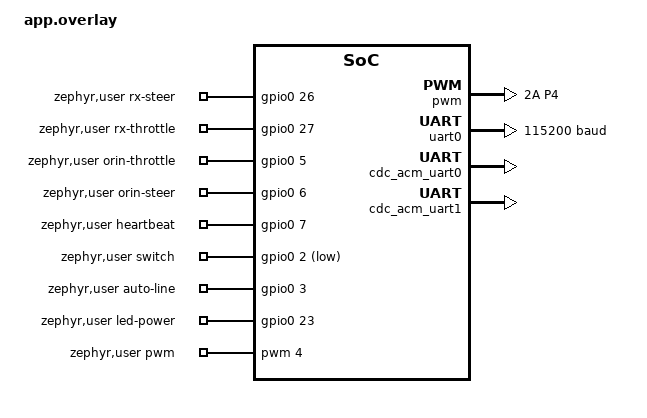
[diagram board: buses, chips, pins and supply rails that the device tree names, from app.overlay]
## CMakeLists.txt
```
# RC override arbiter on Zephyr + nano-ros.
#
# The decisions are firmware/rc-arbiter/lib, shared with the PlatformIO build
# and covered by its host tests (`just arbiter test`); nothing here copies
# them. src/ is the Zephyr hardware layer plus the nano-ros node.
cmake_minimum_required(VERSION 3.20.0)

find_package(Zephyr REQUIRED HINTS $ENV{ZEPHYR_BASE})
project(autosdv_arbiter LANGUAGES C CXX)

set(RC_ARBITER_LIB ${CMAKE_CURRENT_SOURCE_DIR}/../../rc-arbiter/lib)

target_include_directories(app PRIVATE
    ${RC_ARBITER_LIB}/arbiter
    ${RC_ARBITER_LIB}/vesc
    src)
target_sources(app PRIVATE
    ${RC_ARBITER_LIB}/arbiter/arbiter.cpp
    ${RC_ARBITER_LIB}/arbiter/heartbeat.cpp
    ${RC_ARBITER_LIB}/arbiter/pulse.cpp
    ${RC_ARBITER_LIB}/vesc/vesc_packet.cpp
    src/control.cpp)

# The hardware layer. On the car's XIAO RP2350 it is the pins of app.overlay;
# on QEMU's mps2/an521, which has none of them, a scripted stand-in
# (src/sim/board_sim.cpp) feeds the same control loop.
if(BOARD STREQUAL "mps2")
  target_sources(app PRIVATE src/sim/board_sim.cpp)
else()
  target_sources(app PRIVATE
      src/board_io_xiao.cpp
      src/capture.cpp
      src/status_led.cpp
      src/vesc_uart.cpp)
endif()

find_package(nano_ros REQUIRED)
find_package(std_msgs REQUIRED)

nano_ros_auto_add_library(arbiter_node STATIC src/ArbiterNode.cpp)
target_include_directories(arbiter_node PRIVATE
    ${RC_ARBITER_LIB}/arbiter
    src)

nros_components_register_node(arbiter_node
    HEADER ArbiterNode.hpp
    PLUGIN autosdv_arbiter::ArbiterNode
    EXECUTABLE arbiter
    SHAPE configure
    TYPED)
```

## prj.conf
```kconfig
# Application Kconfig for the arbiter, on every board. The board's base
# fragment (boards/nros-board-*/prj.conf) is layered ahead of this file, and
# the image's os_config fragments (system.toml) after it.

CONFIG_CPP=y
CONFIG_STD_CPP17=y
CONFIG_NROS=y

CONFIG_SERIAL=y
CONFIG_UART_INTERRUPT_DRIVEN=y

# A 1 ms tick, so the arbiter's 1 kHz timer lands on a tick.
CONFIG_SYS_CLOCK_TICKS_PER_SEC=1000

# Mode changes are logged to the console.
CONFIG_LOG=y
CONFIG_LOG_DEFAULT_LEVEL=3
CONFIG_PRINTK=y
```

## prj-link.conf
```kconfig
# The zenoh link to the Orin: zenoh-pico's built-in COBS serial framing over a
# UART device, with no IP stack. Which device is the image's locator.
CONFIG_NETWORKING=n
CONFIG_NROS_TRANSPORT_SERIAL=y
CONFIG_RING_BUFFER=y
CONFIG_POSIX_API=y
CONFIG_MAX_PTHREAD_MUTEX_COUNT=64
CONFIG_MAX_PTHREAD_COND_COUNT=16
CONFIG_POSIX_THREAD_THREADS_MAX=16

# Below the arbiter's control thread, which is cooperative and must never wait
# on zenoh.
CONFIG_MAIN_THREAD_PRIORITY=5
```

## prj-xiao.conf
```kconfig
# The car's XIAO RP2350: the hardware the arbiter drives, and the USB device
# stack with the two CDC-ACM ports boards/xiao_rp2350_rp2350a_m33.overlay
# declares (zenoh on the first, the log on the second).
CONFIG_GPIO=y
CONFIG_PWM=y
CONFIG_WATCHDOG=y
CONFIG_LED_STRIP=y

CONFIG_USB_DEVICE_STACK_NEXT=y
CONFIG_USBD_CDC_ACM_CLASS=y
CONFIG_CDC_ACM_SERIAL_INITIALIZE_AT_BOOT=y
CONFIG_UART_LINE_CTRL=y
```

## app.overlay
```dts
/*
 * XIAO RP2350 wiring for the RC override arbiter. Pin for pin the same as
 * firmware/rc-arbiter/src/pins.h and the "Wiring" table of
 * docs/design/rc-override-arbiter.md; change all three together.
 */

#include <zephyr/dt-bindings/gpio/gpio.h>
#include <zephyr/dt-bindings/pwm/pwm.h>

/ {
	chosen {
		/*
		 * Two USB CDC-ACM ports: the first carries zenoh to the Orin, the
		 * second is the log console. The board's default console is uart0,
		 * which is D6/D7 and belongs to the VESC here.
		 */
		zephyr,console = &cdc_acm_uart1;
		zephyr,shell-uart = &cdc_acm_uart1;
	};

	zephyr,user {
		/* The board's ADC channels sit on D0/D1, which are pulse inputs here. */
		/delete-property/ io-channels;

		rx-steer-gpios = <&gpio0 26 GPIO_ACTIVE_HIGH>;      /* D0 */
		rx-throttle-gpios = <&gpio0 27 GPIO_ACTIVE_HIGH>;   /* D1 */
		orin-throttle-gpios = <&gpio0 5 GPIO_ACTIVE_HIGH>;  /* D3, PCA9685 ch0 via pole A */
		orin-steer-gpios = <&gpio0 6 GPIO_ACTIVE_HIGH>;     /* D4, PCA9685 ch1 via pole B */
		heartbeat-gpios = <&gpio0 7 GPIO_ACTIVE_HIGH>;      /* D5, PCA9685 ch2 */
		/* D8, pull-up; the switch pulls it low when ON. */
		switch-gpios = <&gpio0 2 (GPIO_ACTIVE_LOW | GPIO_PULL_UP)>;
		auto-line-gpios = <&gpio0 3 GPIO_ACTIVE_HIGH>;      /* D10, AUTO state to the Orin */
		led-power-gpios = <&gpio0 23 GPIO_ACTIVE_HIGH>;     /* onboard RGB LED supply */

		/* D9: steering servo, PWM slice 2 channel A, 50 Hz. */
		pwms = <&pwm 4 PWM_MSEC(20) PWM_POLARITY_NORMAL>;
	};
};

&adc {
	status = "disabled";
};

/* uart1's pins are GPIO20/21; GPIO20 is D12, the optional external LED. */
&uart1 {
	status = "disabled";
};

&pinctrl {
	pwm_servo_default: pwm_servo_default {
		group1 {
			pinmux = <PWM_2A_P4>;
		};
	};
};

/* The board routes PWM 4B to the user LED; the servo takes the PWM block. */
&pwm {
	pinctrl-0 = <&pwm_servo_default>;
	pinctrl-names = "default";
};

/* VESC: UART0 on D6 (TX) / D7 (RX), the board's default pins. */
&uart0 {
	current-speed = <115200>;
};

&zephyr_udc0 {
	cdc_acm_uart0: cdc_acm_uart0 {
		compatible = "zephyr,cdc-acm-uart";
	};

	cdc_acm_uart1: cdc_acm_uart1 {
		compatible = "zephyr,cdc-acm-uart";
	};
};
```

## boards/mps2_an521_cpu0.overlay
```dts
/*
 * QEMU mps2-an521 (Cortex-M33): the console stays on uart0, zenoh takes uart1.
 * QEMU wires -serial arguments to uart0, uart1, ... in order, so the second
 * one is the link to the host's zenoh router (just arbiter nros-qemu).
 */
&uart1 {
	status = "okay";
	current-speed = <115200>;
};
```

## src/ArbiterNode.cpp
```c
/// @file ArbiterNode.cpp
#include "ArbiterNode.hpp"

#include "arbiter.h"
#include "control.h"

namespace autosdv_arbiter {

namespace {
// 10 Hz: a mode change reaches the Orin within 100 ms, and the AUTO line
// (D10) is the fast path anyway.
constexpr uint32_t kPeriodMs = 100;
} // namespace

void ArbiterNode::on_tick() {
    std_msgs::msg::String m;
    m.data = arbiter::mode_name(control::mode());
    (void)pub_.publish(m);
}

::rclcpp::Result ArbiterNode::configure(::rclcpp::Node& node) {
    ::rclcpp::Result r = node.create_publisher(pub_, "/vehicle/arbiter/mode");
    if (!r.ok()) return r;
    return node.create_wall_timer<ArbiterNode, &ArbiterNode::on_tick>(timer_, kPeriodMs, this);
}

} // namespace autosdv_arbiter
```

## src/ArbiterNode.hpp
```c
/// @file ArbiterNode.hpp
/// @brief The arbiter's ROS face: what mode it is in, for the Orin and for logs.
///
/// Publish-only. Nothing the Orin sends over ROS can change who drives; the
/// mode is decided by the switch, the receiver and the PCA9685 heartbeat
/// (docs/design/rc-override-arbiter.md), and this node only reports it.
#pragma once

#include <rclcpp/rclcpp.hpp>
#include "std_msgs.hpp"

namespace autosdv_arbiter {

class ArbiterNode {
    ::rclcpp::Publisher<std_msgs::msg::String> pub_;
    ::rclcpp::Timer timer_;

    void on_tick();

  public:
    ::rclcpp::Result configure(::rclcpp::Node& node);
};

} // namespace autosdv_arbiter
```

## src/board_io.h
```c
// What the control loop reads from and writes to the board, apart from the
// pulse inputs (capture.h) and the VESC (vesc_uart.h). board_io_xiao.cpp is
// the car's XIAO RP2350; sim/board_io_sim.cpp stands in on a board with none
// of this hardware (QEMU mps2/an521), so the same loop can run there.
#pragma once

#include <stdint.h>

namespace board_io {

// Configures every input and output, capture and the VESC UART included;
// false if any of them is not ready.
bool begin();

// The auto-mode switch, debounced by the arbiter, not here.
bool switch_on(uint32_t now_ms);

void set_auto_line(bool on);

// One steering pulse width; called only when it changes.
void set_servo_us(uint16_t us);

// Starts a watchdog that resets the board after timeout_ms without a feed.
// Returns false if there is none or it cannot be set up.
bool watchdog_start(uint32_t timeout_ms);
void watchdog_feed();

}  // namespace board_io
```

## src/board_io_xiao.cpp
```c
// board_io on the XIAO RP2350: the pins of app.overlay's zephyr,user node.
#include "board_io.h"

#include <zephyr/drivers/gpio.h>
#include <zephyr/drivers/pwm.h>
#include <zephyr/drivers/watchdog.h>

#include "capture.h"
#include "vesc_uart.h"

namespace board_io {

namespace {

#define USER_NODE DT_PATH(zephyr_user)

const gpio_dt_spec kSwitch = GPIO_DT_SPEC_GET(USER_NODE, switch_gpios);
const gpio_dt_spec kAutoLine = GPIO_DT_SPEC_GET(USER_NODE, auto_line_gpios);
const pwm_dt_spec kServo = PWM_DT_SPEC_GET(USER_NODE);
const device* const kWatchdog = DEVICE_DT_GET(DT_ALIAS(watchdog0));

int wdt_channel = -1;

}  // namespace

bool begin() {
  return gpio_is_ready_dt(&kSwitch) && gpio_pin_configure_dt(&kSwitch, GPIO_INPUT) == 0 &&
         gpio_is_ready_dt(&kAutoLine) &&
         gpio_pin_configure_dt(&kAutoLine, GPIO_OUTPUT_INACTIVE) == 0 &&
         pwm_is_ready_dt(&kServo) && capture::begin() && vesc_uart::begin();
}

bool switch_on(uint32_t) { return gpio_pin_get_dt(&kSwitch) > 0; }

void set_auto_line(bool on) { gpio_pin_set_dt(&kAutoLine, on ? 1 : 0); }

void set_servo_us(uint16_t us) { pwm_set_pulse_dt(&kServo, PWM_USEC(us)); }

bool watchdog_start(uint32_t timeout_ms) {
  wdt_timeout_cfg cfg = {};
  cfg.window.min = 0;
  cfg.window.max = timeout_ms;
  cfg.flags = WDT_FLAG_RESET_SOC;
  int channel = wdt_install_timeout(kWatchdog, &cfg);
  if (channel < 0) return false;
  if (wdt_setup(kWatchdog, WDT_OPT_PAUSE_HALTED_BY_DBG) < 0) return false;
  wdt_channel = channel;
  return true;
}

void watchdog_feed() {
  if (wdt_channel >= 0) wdt_feed(kWatchdog, wdt_channel);
}

}  // namespace board_io
```

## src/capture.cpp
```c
#include "capture.h"

#include <zephyr/drivers/gpio.h>
#include <zephyr/kernel.h>

namespace capture {

namespace {

#define USER_NODE DT_PATH(zephyr_user)

const gpio_dt_spec kPins[kCount] = {
    GPIO_DT_SPEC_GET(USER_NODE, rx_steer_gpios),
    GPIO_DT_SPEC_GET(USER_NODE, rx_throttle_gpios),
    GPIO_DT_SPEC_GET(USER_NODE, orin_throttle_gpios),
    GPIO_DT_SPEC_GET(USER_NODE, orin_steer_gpios),
    GPIO_DT_SPEC_GET(USER_NODE, heartbeat_gpios),
};

struct State {
  bool high;
  uint32_t rise_us;
  uint16_t width_us;
  uint32_t fall_ms;
  uint32_t seq;
};

State channels[kCount];
gpio_callback callbacks[kCount];

uint32_t now_us() { return k_cyc_to_us_floor32(k_cycle_get_32()); }

void on_edge(const device* port, gpio_callback* cb, gpio_port_pins_t pins) {
  uint32_t t = now_us();
  int idx = cb - callbacks;
  State& s = channels[idx];
  if (gpio_pin_get_dt(&kPins[idx]) > 0) {
    s.high = true;
    s.rise_us = t;
  } else if (s.high) {
    // Only a falling edge after a seen rising edge is a pulse; the first fall
    // after boot has no start.
    s.high = false;
    uint32_t w = t - s.rise_us;
    s.width_us = w > 0xffff ? 0xffff : static_cast<uint16_t>(w);
    s.fall_ms = k_uptime_get_32();
    s.seq = s.seq + 1;
  }
  ARG_UNUSED(port);
  ARG_UNUSED(pins);
}

}  // namespace

bool begin() {
  for (int i = 0; i < kCount; ++i) {
    const gpio_dt_spec& p = kPins[i];
    if (!gpio_is_ready_dt(&p)) return false;
    if (gpio_pin_configure_dt(&p, GPIO_INPUT) != 0) return false;
    // One callback per pin, so the handler knows its channel from the
    // callback's address.
    gpio_init_callback(&callbacks[i], on_edge, BIT(p.pin));
    if (gpio_add_callback_dt(&p, &callbacks[i]) != 0) return false;
    if (gpio_pin_interrupt_configure_dt(&p, GPIO_INT_EDGE_BOTH) != 0) return false;
  }
  return true;
}

arbiter::Pulse read(Channel ch, uint32_t now_ms) {
  arbiter::Pulse p;
  unsigned int key = irq_lock();
  const State& s = channels[ch];
  p.width_us = s.width_us;
  uint32_t fall_ms = s.fall_ms;
  p.seq = s.seq;
  irq_unlock(key);
  p.age_ms = p.seq == 0 ? UINT32_MAX : now_ms - fall_ms;
  return p;
}

}  // namespace capture
```

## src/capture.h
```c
// Pulse capture on GPIO interrupts, the Zephyr counterpart of
// firmware/rc-arbiter/src/capture.h: each edge is timestamped from the
// hardware cycle counter, each falling edge completes a pulse.
#pragma once

#include <stdint.h>

#include "pulse.h"

namespace capture {

enum Channel : uint8_t { RxSteer, RxThrottle, OrinThrottle, OrinSteer, Heartbeat, kCount };

// Configures the five inputs and their interrupts; false if a device is not ready.
bool begin();

// A consistent copy of one channel, with its age relative to now_ms.
arbiter::Pulse read(Channel ch, uint32_t now_ms);

}  // namespace capture
```

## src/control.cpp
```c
#include "control.h"

#include <atomic>

#include <zephyr/kernel.h>
#include <zephyr/logging/log.h>

#include "board_io.h"
#include "capture.h"
#include "vesc_uart.h"

LOG_MODULE_REGISTER(arbiter, LOG_LEVEL_INF);

namespace control {

namespace {

constexpr uint32_t kVescPeriodMs = 10;  // 100 Hz, well inside the 50 ms VESC timeout
constexpr uint32_t kWatchdogMs = 100;

std::atomic<uint8_t> current_mode{static_cast<uint8_t>(arbiter::Mode::Manual)};
std::atomic<uint32_t> changes{0};

arbiter::Arbiter arb;

void run(void*, void*, void*) {
  if (!board_io::begin()) {
    // Without its inputs or outputs the board cannot arbitrate. Driving
    // nothing leaves the VESC to brake on its own UART timeout.
    LOG_ERR("hardware init failed; arbiter not running");
    return;
  }
  // A hung loop stops the VESC commands, and the VESC brakes on its own
  // timeout; the watchdog then restarts the board in MANUAL.
  if (!board_io::watchdog_start(kWatchdogMs)) LOG_ERR("watchdog setup failed");

  k_timer tick;
  k_timer_init(&tick, nullptr, nullptr);
  k_timer_start(&tick, K_MSEC(1), K_MSEC(1));

  uint32_t last_vesc_ms = 0;
  uint16_t last_servo_us = 0;
  arbiter::Mode last_mode = arbiter::Mode::Manual;

  for (;;) {
    k_timer_status_sync(&tick);
    uint32_t now = k_uptime_get_32();

    arbiter::Inputs in;
    in.switch_on = board_io::switch_on(now);
    in.rx_steer = capture::read(capture::RxSteer, now);
    in.rx_throttle = capture::read(capture::RxThrottle, now);
    in.orin_steer = capture::read(capture::OrinSteer, now);
    in.orin_throttle = capture::read(capture::OrinThrottle, now);
    in.heartbeat = capture::read(capture::Heartbeat, now);

    arbiter::Outputs out = arb.step(in, now);

    // No servo pulse until a valid steering source has been seen.
    if (out.servo_us != 0 && out.servo_us != last_servo_us) {
      board_io::set_servo_us(out.servo_us);
      last_servo_us = out.servo_us;
    }
    board_io::set_auto_line(out.auto_line);

    if (now - last_vesc_ms >= kVescPeriodMs) {
      last_vesc_ms = now;
      vesc_uart::send(out.vesc);
    }

    if (out.mode != last_mode) {
      LOG_INF("%u ms: %s -> %s", now, arbiter::mode_name(last_mode),
              arbiter::mode_name(out.mode));
      last_mode = out.mode;
      current_mode.store(static_cast<uint8_t>(out.mode), std::memory_order_relaxed);
      changes.fetch_add(1, std::memory_order_relaxed);
    }

    board_io::watchdog_feed();
  }
}

// Cooperative and above every nano-ros thread (main runs at priority 5), so
// zenoh traffic cannot delay a step.
K_THREAD_DEFINE(control_thread, 2048, run, nullptr, nullptr, nullptr, K_PRIO_COOP(2), 0, 0);

}  // namespace

arbiter::Mode mode() {
  return static_cast<arbiter::Mode>(current_mode.load(std::memory_order_relaxed));
}

uint32_t mode_changes() { return changes.load(std::memory_order_relaxed); }

}  // namespace control
```

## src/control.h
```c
// The arbiter's control loop: a cooperative thread at 1 kHz that reads the
// inputs, runs arbiter::Arbiter::step() and writes the servo, the VESC, the
// AUTO line and the watchdog. It starts at boot and never depends on zenoh:
// the board arbitrates whether or not the Orin's ROS link is up.
#pragma once

#include <stdint.h>

#include "arbiter.h"

namespace control {

// The current mode, readable from any thread.
arbiter::Mode mode();

// Mode changes since boot.
uint32_t mode_changes();

}  // namespace control
```

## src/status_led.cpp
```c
// The onboard RGB LED shows the mode, using the pattern table the host tests
// cover (led_pattern.h). A low-priority thread of its own: the LED is for the
// person at the car, so it must not depend on zenoh, and it must not cost the
// control loop the PIO write.
#include <zephyr/drivers/gpio.h>
#include <zephyr/drivers/led_strip.h>
#include <zephyr/kernel.h>

#include "control.h"
#include "led_pattern.h"

namespace {

constexpr uint32_t kPeriodMs = 20;
constexpr uint8_t kBrightness = 64;  // of 255, as the PlatformIO build

const gpio_dt_spec kLedPower = GPIO_DT_SPEC_GET(DT_PATH(zephyr_user), led_power_gpios);
const device* const kStrip = DEVICE_DT_GET(DT_ALIAS(led_strip));

uint8_t scale(uint8_t v) { return static_cast<uint8_t>((v * kBrightness) / 255); }

void run(void*, void*, void*) {
  if (!gpio_is_ready_dt(&kLedPower) || !device_is_ready(kStrip)) return;
  gpio_pin_configure_dt(&kLedPower, GPIO_OUTPUT_ACTIVE);
  for (;;) {
    arbiter::Rgb c = arbiter::led_pattern(control::mode(), k_uptime_get_32());
    led_rgb pixel = {};
    pixel.r = scale(c.r);
    pixel.g = scale(c.g);
    pixel.b = scale(c.b);
    led_strip_update_rgb(kStrip, &pixel, 1);
    k_msleep(kPeriodMs);
  }
}

K_THREAD_DEFINE(status_led_thread, 1024, run, nullptr, nullptr, nullptr, 10, 0, 0);

}  // namespace
```

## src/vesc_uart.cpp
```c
#include "vesc_uart.h"

#include <zephyr/drivers/uart.h>
#include <zephyr/kernel.h>
#include <zephyr/sys/ring_buffer.h>

#include "vesc_packet.h"

namespace vesc_uart {

namespace {

const device* const kUart = DEVICE_DT_GET(DT_NODELABEL(uart0));

RING_BUF_DECLARE(tx_ring, 64);

void on_irq(const device* dev, void*) {
  if (!uart_irq_update(dev)) return;
  if (uart_irq_tx_ready(dev)) {
    uint8_t* data;
    uint32_t len = ring_buf_get_claim(&tx_ring, &data, 16);
    if (len == 0) {
      uart_irq_tx_disable(dev);
      return;
    }
    int sent = uart_fifo_fill(dev, data, len);
    ring_buf_get_finish(&tx_ring, sent > 0 ? sent : 0);
  }
}

}  // namespace

bool begin() {
  if (!device_is_ready(kUart)) return false;
  return uart_irq_callback_user_data_set(kUart, on_irq, nullptr) == 0;
}

void send(const arbiter::VescCommand& c) {
  uint8_t buf[vesc::kMaxPacket];
  size_t n = c.kind == arbiter::VescCommand::Kind::Current ? vesc::set_current(c.amps, buf)
                                                           : vesc::set_brake_current(c.amps, buf);
  unsigned int key = irq_lock();
  bool fits = ring_buf_space_get(&tx_ring) >= n;
  if (fits) ring_buf_put(&tx_ring, buf, n);
  irq_unlock(key);
  if (fits) uart_irq_tx_enable(kUart);
}

}  // namespace vesc_uart
```

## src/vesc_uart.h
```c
// VESC commands over UART0 (D6/D7), sent from an interrupt-driven TX buffer
// so the 1 kHz control loop never waits on the 115200 baud line.
#pragma once

#include "arbiter.h"

namespace vesc_uart {

bool begin();

// Queues one command; a packet that does not fit the buffer is dropped (the
// next one follows 10 ms later, inside the VESC's 50 ms timeout).
void send(const arbiter::VescCommand& c);

}  // namespace vesc_uart
```
